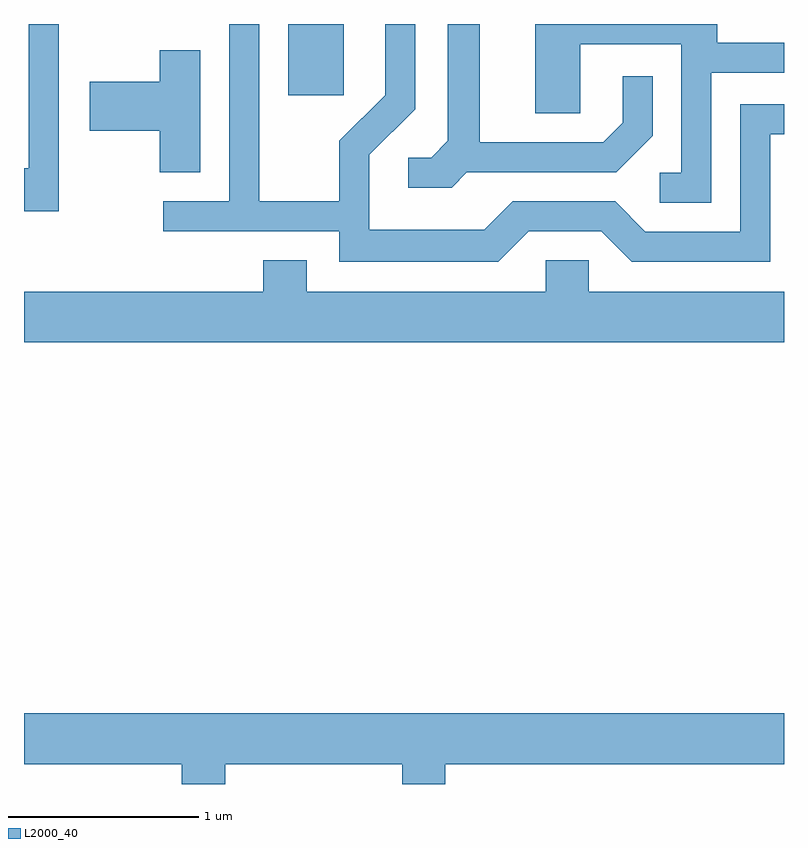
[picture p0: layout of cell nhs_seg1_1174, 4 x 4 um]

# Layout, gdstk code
import gdstk
lib = gdstk.Library(unit=1e-6, precision=1e-09)
def R(c, l, rs):  # rectangles x0, y0, x1, y1
    for r in rs: c.add(gdstk.rectangle(r[:2], r[2:], *l))
def P(c, l, *ps):  # polygons
    for p in ps: c.add(gdstk.Polygon(p, *l))
L2000_40 = (2000, 40)

nhs_seg1_1174 = lib.new_cell('nhs_seg1_1174')
R(nhs_seg1_1174, L2000_40, [(223.001,885.336,223.294,885.712)])
P(nhs_seg1_1174, L2000_40, [(225.229,885.456),(225.611,885.456),(225.611,885.614),(225.259,885.614),(225.259,885.712),(224.301,885.712),(224.301,885.241),(224.539,885.241),(224.539,885.606),(225.071,885.606),(225.071,884.929),(224.958,884.929),(224.958,884.771),(225.229,884.771)],
  [(224.267,884.621),(224.649,884.621),(224.809,884.461),(225.539,884.461),(225.539,885.131),(225.611,885.131),(225.611,885.289),(225.381,885.289),(225.381,884.619),(224.882,884.619),(224.722,884.779),(224.184,884.779),(224.034,884.629),(223.429,884.629),(223.429,885.024),(223.669,885.264),(223.669,885.712),(223.511,885.712),(223.511,885.337),(223.271,885.097),(223.271,884.779),(222.849,884.779),(222.849,885.712),(222.691,885.712),(222.691,884.779),(222.343,884.779),(222.343,884.621),(223.271,884.621),(223.271,884.461),(224.107,884.461)],
  [(221.794,885.712),(221.636,885.712),(221.636,884.954),(221.611,884.954),(221.611,884.726),(221.794,884.726)],
  [(223.942,884.931),(224.727,884.931),(224.919,885.124),(224.919,885.438),(224.761,885.438),(224.761,885.192),(224.659,885.089),(224.009,885.089),(224.009,885.712),(223.841,885.712),(223.841,885.097),(223.754,885.009),(223.633,885.009),(223.633,884.851),(223.862,884.851)],
  [(222.539,885.574),(222.326,885.574),(222.326,885.409),(221.956,885.409),(221.956,885.151),(222.326,885.151),(222.326,884.931),(222.539,884.931)],
  [(225.611,884.304),(224.584,884.304),(224.584,884.469),(224.356,884.469),(224.356,884.304),(223.099,884.304),(223.099,884.469),(222.871,884.469),(222.871,884.304),(221.611,884.304),(221.611,884.036),(225.611,884.036)],
  [(222.669,881.816),(223.601,881.816),(223.601,881.712),(223.829,881.712),(223.829,881.816),(225.611,881.816),(225.611,882.084),(221.611,882.084),(221.611,881.816),(222.441,881.816),(222.441,881.712),(222.669,881.712)])

lib.write_gds('nhs_seg1_1174.gds')
